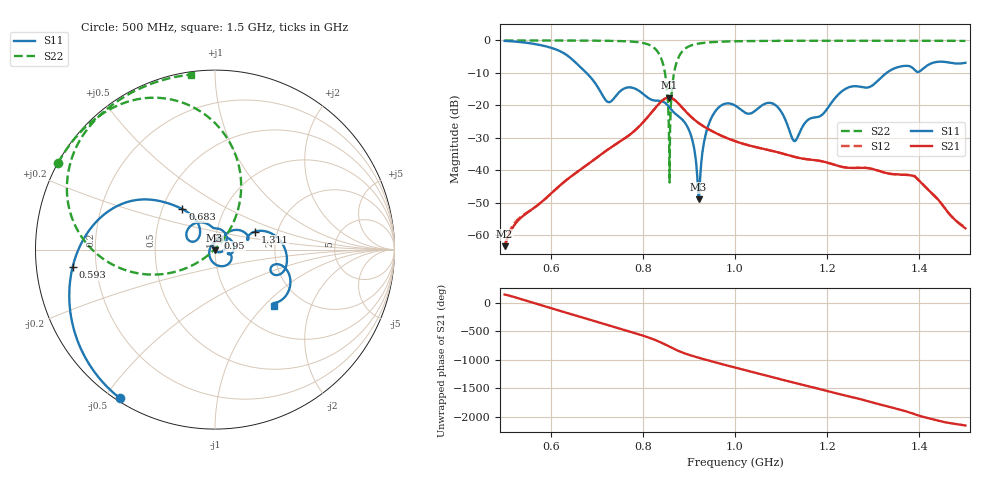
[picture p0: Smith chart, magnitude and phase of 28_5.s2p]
! TOUCHSTONE file generated by CST MICROWAVE STUDIO
! Date and time: Fri Oct  2 19:15:00 2020
! Project name: Scenario_1_Free_Space_out_of_line.cst
! Parameters = {Lambda=346.42; Step_1=17.321; dy1=-120.567; dx1=866; L_HA=400; MT=2.54; Rad_Dielectric=30; Rad_Lower=7.3; Rad_Upper=30; a_HA=580; a_WG=246; b_HA=500; b_WG=121; c_HA=0; c_WG=187; d_feed=85; h_feed=15; h_lower=18; h_upper=40}
! Header version: 2018
! Port assignment regex: !\s*Touchstone port\s*([0-9]+)\s*=\s*(CST MWS port|CST DS port)\s*([0-9]+|Zmin|Zmax)\s*\(\"(.*)\"\)(\s*mode\s*([0-9]+))?.*
! Touchstone port assignment:
! Touchstone port 1 = CST MWS port 1 ("")
! Touchstone port 2 = CST MWS port 2 ("")
# GHz S DB R 50
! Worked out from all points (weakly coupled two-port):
!   1003 points, 500 MHz to 1.5 GHz, reference 50 ohm
!   highest |S21| = -17.56 dB at 856 MHz (marker M1); lowest = -63.3 dB at 500 MHz (marker M2)
!   lowest |S11| = -48.9 dB at 921 MHz (marker M3), VSWR 1.01, Z = 49.8 - j0.283 ohm
!   |S11| at or under -10 dB: 677.7 MHz to 1.329 GHz (651.1 MHz wide, 64.9 % of centre)
!   |S22| runs from -43.7 to 0.0 dB; largest |S21 - S12| = 0.00021
!   S11 on the Smith chart (normalised r, x): 500 MHz: 0.01, -0.55; 593 MHz: 0.11, -0.06; 683 MHz: 0.63, +0.31; 950 MHz: 1.03, +0.13; 1.311 GHz: 1.53, +0.33; 1.5 GHz: 1.44, -1.14
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0.5  -0.15 -122.6  -63.30 142.8  -63.30 142.8  -0.01 151.1
0.593  -1.94 -173.0  -48.11 -75.9  -48.13 -75.7  -0.02 144.6
0.667  -8.53 135.9  -39.50 105.4  -39.50 105.4  -0.04 138.3
0.683  -10.78 128.8  -37.86 67.8  -37.86 67.8  -0.05 136.6
0.724  -18.93 141.7  -33.58 -31.2  -33.58 -31.2  -0.12 131.6
0.77  -14.44 140.0  -29.19 -142.1  -29.19 -142.1  -0.31 122.9
0.834  -18.55 83.1  -19.64 43.9  -19.64 43.9  -3.86 85.0
0.847  -19.09 63.6  -17.99 -4.8  -17.99 -4.8  -9.20 65.4
0.856  -20.30 48.9  -17.56 -41.6  -17.56 -41.6  -24.25 50.1
0.877  -23.30 24.6  -19.37 -122.6  -19.37 -122.6  -5.36 -169.0
0.904  -29.00 -22.7  -23.40 159.0  -23.40 159.0  -1.58 165.6
0.921  -48.92 -127.5  -25.39 118.1  -25.39 118.1  -0.97 157.3
0.935  -29.76 107.9  -26.70 86.2  -26.70 86.2  -0.70 152.6
0.95  -23.49 75.4  -27.89 52.8  -27.88 52.8  -0.53 148.7
1  -20.01 -7.6  -30.98 -53.6  -30.98 -53.6  -0.26 140.1
1.085  -19.63 -61.1  -34.11 130.1  -34.11 130.1  -0.13 130.9
1.129  -30.97 158.2  -35.81 39.8  -35.81 39.8  -0.11 127.1
1.167  -23.83 48.9  -36.73 -35.4  -36.73 -35.4  -0.09 124.1
1.311  -12.25 24.3  -40.08 27.8  -40.08 27.8  -0.09 113.1
1.334  -9.49 14.5  -40.97 -19.3  -40.97 -19.3  -0.09 111.4
1.392  -9.38 -22.2  -42.02 -156.2  -42.07 -154.8  -0.10 106.9
1.5  -6.87 -44.0  -57.79 13.5  -57.41 14.7  -0.14 97.8
